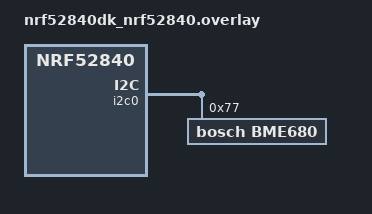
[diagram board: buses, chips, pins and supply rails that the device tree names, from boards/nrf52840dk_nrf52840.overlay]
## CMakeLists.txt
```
cmake_minimum_required(VERSION 3.20.0)
find_package(Zephyr REQUIRED HINTS $ENV{ZEPHYR_BASE})

project(gas_inspector)

target_sources(app PRIVATE src/main.c)
target_sources(app PRIVATE src/sensor.c)
target_sources(app PRIVATE src/ble.c)

zephyr_include_directories(include)
zephyr_include_directories(src)
```

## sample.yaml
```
sample:
  name: Gas Detector
tests:
  sample.gas_detector:
    harness: sensor
    tags:
      - samples
      - sensor
    integration_platforms:
      - nrf5340dk/nrf5340/cpuapp/ns
      - nrf52840dk/nrf52840
      - thingy53/nrf5340/cpuapp/ns
    platform_allow:
      - nrf5340dk/nrf5340/cpuapp/ns
      - nrf52840dk/nrf52840
      - thingy53/nrf5340/cpuapp/ns
```

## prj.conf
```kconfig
# Delete?
CONFIG_STDOUT_CONSOLE=y

# Gas sensor
CONFIG_I2C=y
CONFIG_SENSOR=y

# Logging
CONFIG_LOG=y
CONFIG_LOG_PRINTK=y
CONFIG_LOG_BACKEND_RTT=y
CONFIG_USE_SEGGER_RTT=y
CONFIG_LOG_DEFAULT_LEVEL=2

# BLE
CONFIG_BT=y
CONFIG_BT_PERIPHERAL=y
CONFIG_BT_DEVICE_NAME="GasDetector"
# CONFIG_BT_RPC_STACK=y
```

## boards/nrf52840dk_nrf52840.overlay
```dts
&i2c0 {
	bme680@77 {
		compatible = "bosch,bme680";
		reg = <0x77>;
	};
};
```

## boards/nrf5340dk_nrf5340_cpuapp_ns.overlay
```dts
&i2c1 {
	status = "okay";
	bme680@77 {
		compatible = "bosch,bme680";
		reg = <0x77>;
	};
	pinctrl-0 = <&i2c1_default>;
	pinctrl-1 = <&i2c1_sleep>;
	pinctrl-names = "default", "sleep";
};

&pinctrl {
	i2c1_default: i2c1_default {
		group1 {
			psels = <NRF_PSEL(TWIM_SDA, 1, 2)>,
				<NRF_PSEL(TWIM_SCL, 1, 3)>;
		};
	};

	i2c1_sleep: i2c1_sleep {
		group1 {
			psels = <NRF_PSEL(TWIM_SDA, 1, 2)>,
				<NRF_PSEL(TWIM_SCL, 1, 3)>;
			low-power-enable;
		};
	};
};
```

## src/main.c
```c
#include <zephyr/kernel.h>
#include <zephyr/logging/log.h>
#include <stdio.h>

#include "sensor.h"
#include "ble.h"

LOG_MODULE_REGISTER(main_module, 4);

int main(void)
{
        int err = 0;

        err = sensor_init();
        if (err) {
                LOG_ERR("sensor_init failed with error code %d\n", err);
                return err;
        }
        
        err = ble_init();
        if (err) {
                LOG_ERR("ble_init failed with error code %d\n", err);
                return err;
        }

        return err;
}
 
```

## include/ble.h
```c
#ifndef __BLE_H
#define __BLE_H

/** @brief Gas Service UUID. */
#define BT_UUID_GAS_SRV_VAL \
	BT_UUID_128_ENCODE(0x00000001, 0x1212, 0xefde, 0x1523, 0x785feabcd123)

/** @brief Data Characteristic UUID. */
#define BT_UUID_DATA_CHAR_VAL \
	BT_UUID_128_ENCODE(0x00000002, 0x1212, 0xefde, 0x1523, 0x785feabcd123)


#define BT_UUID_GAS_SRV           BT_UUID_DECLARE_128(BT_UUID_GAS_SRV_VAL)
#define BT_UUID_DATA_CHAR    BT_UUID_DECLARE_128(BT_UUID_DATA_CHAR_VAL)


int ble_init(void);

#endif // __BLE_H
```

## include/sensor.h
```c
#ifndef __SENSOR_H
#define __SENSOR_H

int sensor_init(void);

#endif // __SENSOR_H
```

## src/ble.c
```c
#include <zephyr/bluetooth/bluetooth.h>
#include <zephyr/bluetooth/hci.h>
#include <zephyr/bluetooth/conn.h>
#include <zephyr/bluetooth/uuid.h>
#include <zephyr/bluetooth/gatt.h>

#include <zephyr/logging/log.h>

#include "ble.h"

LOG_MODULE_REGISTER(ble_module, 4);

static bool notify_enabled = false;
static bool button_state = false;

#define DEVICE_NAME             CONFIG_BT_DEVICE_NAME
#define DEVICE_NAME_LEN         (sizeof(DEVICE_NAME) - 1)

static const struct bt_data ad[] = {
	BT_DATA_BYTES(BT_DATA_FLAGS, (BT_LE_AD_GENERAL | BT_LE_AD_NO_BREDR)),
	BT_DATA(BT_DATA_NAME_COMPLETE, DEVICE_NAME, DEVICE_NAME_LEN),
};


static void ccc_cfg_changed(const struct bt_gatt_attr *attr,
    uint16_t value)
{
    notify_enabled = (value == BT_GATT_CCC_NOTIFY);
}

static ssize_t read_button(struct bt_conn *conn,
    const struct bt_gatt_attr *attr,
    void *buf,
    uint16_t len,
    uint16_t offset)
{
    const char *value = attr->user_data;

    LOG_DBG("Attribute read, handle: %u, conn: %p", attr->handle,
    (void *)conn);


    return bt_gatt_attr_read(conn, attr, buf, len, offset, value, sizeof(*value));
}

/* Gas Service Declaration */
BT_GATT_SERVICE_DEFINE(gas_svc,
    BT_GATT_PRIMARY_SERVICE(BT_UUID_GAS_SRV),
        BT_GATT_CHARACTERISTIC(BT_UUID_DATA_CHAR,
                       BT_GATT_CHRC_READ | BT_GATT_CHRC_NOTIFY,
                       BT_GATT_PERM_READ, read_button, NULL, &button_state),
        BT_GATT_CCC(ccc_cfg_changed,
                BT_GATT_PERM_READ | BT_GATT_PERM_WRITE),
    );

int ble_init(void)
{
    int err = 0;

    err = bt_enable(NULL);
    if (err) {
        LOG_ERR("Bluetooth init failed with error code %d\n", err);
        return err;
    }

    LOG_DBG("Bluetooth initialized\n");

    err = bt_le_adv_start(BT_LE_ADV_CONN, ad, ARRAY_SIZE(ad), NULL, 0);
    if (err){
        LOG_ERR("Advertising failed to start (err %d)\n", err);
        return err;
    }

    return err;
}
```

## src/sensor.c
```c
#include <zephyr/device.h>
#include <zephyr/drivers/sensor.h>
#include <zephyr/logging/log.h>

LOG_MODULE_REGISTER(sensor_module, 4);
static void sample_fetch_fn(struct k_work *work);

static const struct device *dev;
static K_WORK_DELAYABLE_DEFINE(sample_work, sample_fetch_fn);

static void sample_fetch_fn(struct k_work *work){
    struct sensor_value temp, press, humidity, gas_res;

    sensor_sample_fetch(dev);
    sensor_channel_get(dev, SENSOR_CHAN_AMBIENT_TEMP, &temp);
    sensor_channel_get(dev, SENSOR_CHAN_PRESS, &press);
    sensor_channel_get(dev, SENSOR_CHAN_HUMIDITY, &humidity);
    sensor_channel_get(dev, SENSOR_CHAN_GAS_RES, &gas_res);

    LOG_DBG("T: %d.%06d; P: %d.%06d; H: %d.%06d; G: %d.%06d",
                    temp.val1, temp.val2, press.val1, press.val2,
                    humidity.val1, humidity.val2, gas_res.val1,
                    gas_res.val2);
    
    k_work_reschedule(&sample_work, K_SECONDS(5));
}

int sensor_init(void)
{
    dev = DEVICE_DT_GET_ONE(bosch_bme680);
    
    if (!device_is_ready(dev)) {
            printk("sensor: device not ready.\n");
            return ENXIO;
    }

    LOG_DBG("Device %p name is %s\n", dev, dev->name);

    k_work_reschedule(&sample_work, K_SECONDS(2));

    return 0;
}
```
